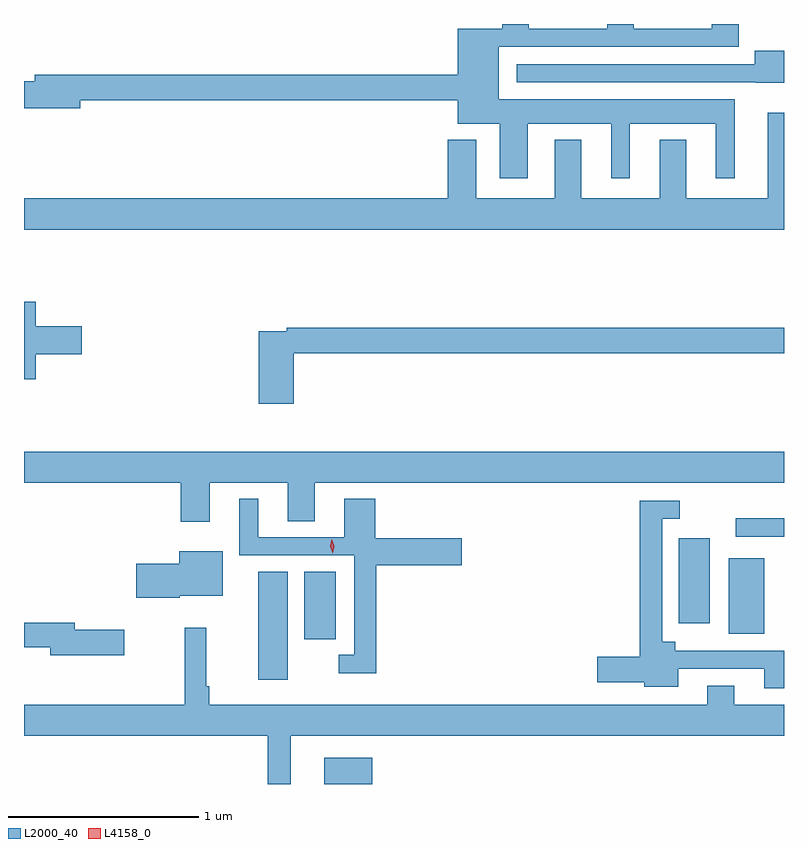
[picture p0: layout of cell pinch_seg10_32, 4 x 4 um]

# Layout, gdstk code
import gdstk
lib = gdstk.Library(unit=1e-6, precision=1e-09)
def R(c, l, rs):  # rectangles x0, y0, x1, y1
    for r in rs: c.add(gdstk.rectangle(r[:2], r[2:], *l))
def P(c, l, *ps):  # polygons
    for p in ps: c.add(gdstk.Polygon(p, *l))
L2000_40 = (2000, 40)
L4158_0 = (4158, 0)

pinch_seg10_32 = lib.new_cell('pinch_seg10_32')
R(pinch_seg10_32, L2000_40, [(924.917,1305.39,925.168,1305.529), (924.569,1305.939,924.724,1306.508), (924.812,1306.152,924.976,1306.508), (927.044,1306.181,927.232,1306.579), (926.783,1306.236,926.944,1306.684), (927.081,1306.692,927.336,1306.788)])
P(pinch_seg10_32, L2000_40, [(925.987,1308.866),(926.426,1308.866),(926.426,1308.579),(926.524,1308.579),(926.524,1308.866),(926.978,1308.866),(926.978,1308.579),(927.076,1308.579),(927.076,1308.994),(925.834,1308.994),(925.834,1309.269),(927.097,1309.269),(927.097,1309.39),(926.957,1309.39),(926.957,1309.365),(926.545,1309.365),(926.545,1309.39),(926.405,1309.39),(926.405,1309.365),(925.993,1309.365),(925.993,1309.39),(925.853,1309.39),(925.853,1309.365),(925.619,1309.365),(925.619,1309.124),(923.393,1309.124),(923.393,1309.088),(923.336,1309.088),(923.336,1308.946),(923.632,1308.946),(923.632,1308.988),(925.619,1308.988),(925.619,1308.866),(925.841,1308.866),(925.841,1308.579),(925.987,1308.579)],
  [(927.336,1309.248),(927.182,1309.248),(927.182,1309.179),(925.929,1309.179),(925.929,1309.083),(927.186,1309.083),(927.186,1309.082),(927.336,1309.082)],
  [(927.336,1308.922),(927.251,1308.922),(927.251,1308.472),(926.821,1308.472),(926.821,1308.781),(926.681,1308.781),(926.681,1308.472),(926.269,1308.472),(926.269,1308.781),(926.129,1308.781),(926.129,1308.472),(925.717,1308.472),(925.717,1308.781),(925.565,1308.781),(925.565,1308.472),(923.336,1308.472),(923.336,1308.308),(927.336,1308.308)],
  [(923.398,1307.651),(923.641,1307.651),(923.641,1307.798),(923.398,1307.798),(923.398,1307.929),(923.336,1307.929),(923.336,1307.519),(923.398,1307.519)],
  [(924.755,1307.656),(927.336,1307.656),(927.336,1307.792),(924.718,1307.792),(924.718,1307.772),(924.572,1307.772),(924.572,1307.391),(924.755,1307.391)],
  [(924.313,1306.976),(924.725,1306.976),(924.725,1306.774),(924.865,1306.774),(924.865,1306.976),(927.336,1306.976),(927.336,1307.14),(923.336,1307.14),(923.336,1306.976),(924.161,1306.976),(924.161,1306.77),(924.313,1306.77)],
  [(925.19,1306.541),(925.639,1306.541),(925.639,1306.683),(925.184,1306.683),(925.184,1306.891),(925.022,1306.891),(925.022,1306.689),(924.568,1306.689),(924.568,1306.891),(924.47,1306.891),(924.47,1306.593),(925.074,1306.593),(925.074,1306.071),(924.993,1306.071),(924.993,1305.974),(925.19,1305.974)],
  [(927.336,1306.092),(926.764,1306.092),(926.764,1306.138),(926.694,1306.138),(926.694,1306.785),(926.788,1306.785),(926.788,1306.881),(926.578,1306.881),(926.578,1306.061),(926.352,1306.061),(926.352,1305.926),(926.601,1305.926),(926.601,1305.902),(926.779,1305.902),(926.779,1305.996),(927.233,1305.996),(927.233,1305.894),(927.336,1305.894)],
  [(924.156,1306.382),(924.382,1306.382),(924.382,1306.615),(924.152,1306.615),(924.152,1306.548),(923.928,1306.548),(923.928,1306.37),(924.156,1306.37)],
  [(923.863,1306.202),(923.602,1306.202),(923.602,1306.238),(923.336,1306.238),(923.336,1306.11),(923.474,1306.11),(923.474,1306.067),(923.863,1306.067)],
  [(924.739,1305.644),(927.336,1305.644),(927.336,1305.808),(927.073,1305.808),(927.073,1305.907),(926.933,1305.907),(926.933,1305.808),(924.311,1305.808),(924.311,1305.904),(924.296,1305.904),(924.296,1306.213),(924.183,1306.213),(924.183,1305.808),(923.336,1305.808),(923.336,1305.644),(924.618,1305.644),(924.618,1305.39),(924.739,1305.39)])
P(pinch_seg10_32, L4158_0, [(924.96,1306.605),(924.96,1306.605),(924.948,1306.641),(924.957,1306.677),(924.957,1306.677),(924.957,1306.677),(924.968,1306.642),(924.96,1306.605)])

lib.write_gds('pinch_seg10_32.gds')
